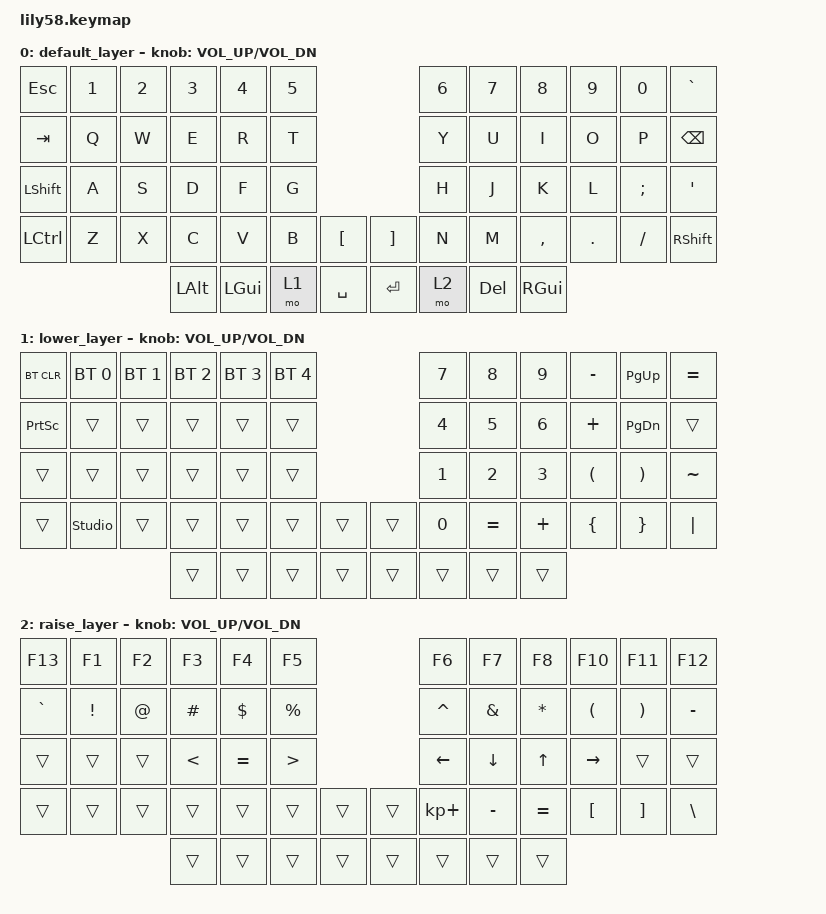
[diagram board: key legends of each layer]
/*
 * Copyright (c) 2020 The ZMK Contributors
 *
 * SPDX-License-Identifier: MIT
 */

#include <behaviors.dtsi>
#include <dt-bindings/zmk/keys.h>
#include <dt-bindings/zmk/bt.h>
#include <dt-bindings/zmk/ext_power.h>



/ {
    keymap {
        compatible = "zmk,keymap";

        default_layer {
            // ------------------------------------------------------------------------------------------------------------
            // |  ESC  |  1  |  2  |  3   |  4   |  5   |                   |  6   |  7    |  8    |  9   |   0   |   `   |
            // |  TAB  |  Q  |  W  |  E   |  R   |  T   |                   |  Y   |  U    |  I    |  O   |   P   |   -   |
            // | SHIFT |  A  |  S  |  D   |  F   |  G   |                   |  H   |  J    |  K    |  L   |   ;   |   '   |
            // |  CTRL |  Z  |  X  |  C   |  V   |  B   |   "["  |  |  "]"  |  N   |  M    |  ,    |  .   |   /   | SHIFT |
            //                     | ALT  | GUI  | LOWER|  SPACE |  | ENTER | RAISE| BSPC  | GUI   |

            bindings = <
&kp ESC           &kp N1  &kp N2  &kp N3    &kp N4    &kp N5                         &kp N6  &kp N7      &kp N8     &kp N9   &kp N0    &kp GRAVE
&kp TAB           &kp Q   &kp W   &kp E     &kp R     &kp T                          &kp Y   &kp U       &kp I      &kp O    &kp P     &kp BACKSPACE
&kp LEFT_SHIFT    &kp A   &kp S   &kp D     &kp F     &kp G                          &kp H   &kp J       &kp K      &kp L    &kp SEMI  &kp SQT
&kp LEFT_CONTROL  &kp Z   &kp X   &kp C     &kp V     &kp B   &kp LBKT     &kp RBKT  &kp N   &kp M       &kp COMMA  &kp DOT  &kp FSLH  &kp RSHFT
                                  &kp LALT  &kp LGUI  &mo 1   &kp SPACE    &kp RET   &mo 2   &kp DELETE  &kp RGUI
            >;

            sensor-bindings = <&inc_dec_kp C_VOL_UP C_VOL_DN>;
        };

        lower_layer {
// ------------------------------------------------------------------------------------------------------------
            // | BTCLR | BT1 | BT2 |  BT3 |  BT4 |  BT5 |                   |      |       |       |      |       |       |
            // |  F1   |  F2 |  F3 |  F4  |  F5  |  F6  |                   |  F7  |  F8   |  F9   |  F10 |  F11  |  F12  |
            // |   `   |  !  |  @  |  #   |  $   |  %   |                   |  ^   |  &    |  *    |  (   |   )   |   ~   |
            // |       |     |     |      |      |      |        |  |       |      |  _    |  +    |  {   |   }   |  "|"  |
            //                     |      |      |      |        |  |       |      |       |       |

            bindings = <
&bt BT_CLR       &bt BT_SEL 0      &bt BT_SEL 1  &bt BT_SEL 2  &bt BT_SEL 3  &bt BT_SEL 4                    &kp N7        &kp NUMBER_8  &kp NUMBER_9  &kp MINUS       &kp PAGE_UP      &kp EQUAL
&kp PRINTSCREEN  &trans            &trans        &trans        &trans        &trans                          &kp NUMBER_4  &kp NUMBER_5  &kp NUMBER_6  &kp PLUS        &kp PAGE_DOWN    &trans
&trans           &trans            &trans        &trans        &trans        &trans                          &kp NUMBER_1  &kp NUMBER_2  &kp NUMBER_3  &kp LPAR        &kp RPAR         &kp TILDE
&trans           &studio_unlock  &trans        &trans        &trans        &trans        &trans    &trans  &kp N0        &kp EQUAL     &kp PLUS      &kp LEFT_BRACE  &kp RIGHT_BRACE  &kp PIPE
                                                 &trans        &trans        &trans        &trans    &trans  &trans        &trans        &trans
            >;

            sensor-bindings = <&inc_dec_kp C_VOL_UP C_VOL_DN>;
        };

        raise_layer {
      // ------------------------------------------------------------------------------------------------------------
            // |       |     |     |      |      |      |                   |      |       |       |      |       |       |
            // |   `   |  1  |  2  |  3   |  4   |  5   |                   |  6   |   7   |   8   |  9   |   0   |       |
            // |   F1  |  F2 |  F3 |  F4  |  F5  |  F6  |                   |      |   <-  |   v   |  ^   |  ->   |       |
            // |   F7  |  F8 |  F9 |  F10 |  F11 |  F12 |        |  |       |  +   |   -   |   =   |  [   |   ]   |   \   |
            //                     |      |      |      |        |  |       |      |       |       |

            bindings = <
&kp F13    &kp F1           &kp F2       &kp F3         &kp F4      &kp F5                              &kp F6          &kp F7          &kp F8        &kp F10               &kp F11                &kp F12
&kp GRAVE  &kp EXCLAMATION  &kp AT_SIGN  &kp HASH       &kp DOLLAR  &kp PERCENT                         &kp CARET       &kp AMPERSAND   &kp ASTERISK  &kp LEFT_PARENTHESIS  &kp RIGHT_PARENTHESIS  &kp MINUS
&trans     &trans           &trans       &kp LESS_THAN  &kp EQUAL   &kp GREATER_THAN                    &kp LEFT_ARROW  &kp DOWN_ARROW  &kp UP_ARROW  &kp RIGHT             &trans                 &trans
&trans     &trans           &trans       &trans         &trans      &trans            &trans    &trans  &kp KP_PLUS     &kp MINUS       &kp EQUAL     &kp LEFT_BRACKET      &kp RIGHT_BRACKET      &kp BSLH
                                         &trans         &trans      &trans            &trans    &trans  &trans          &trans          &trans
            >;

            sensor-bindings = <&inc_dec_kp C_VOL_UP C_VOL_DN>;
        };
    };
};
